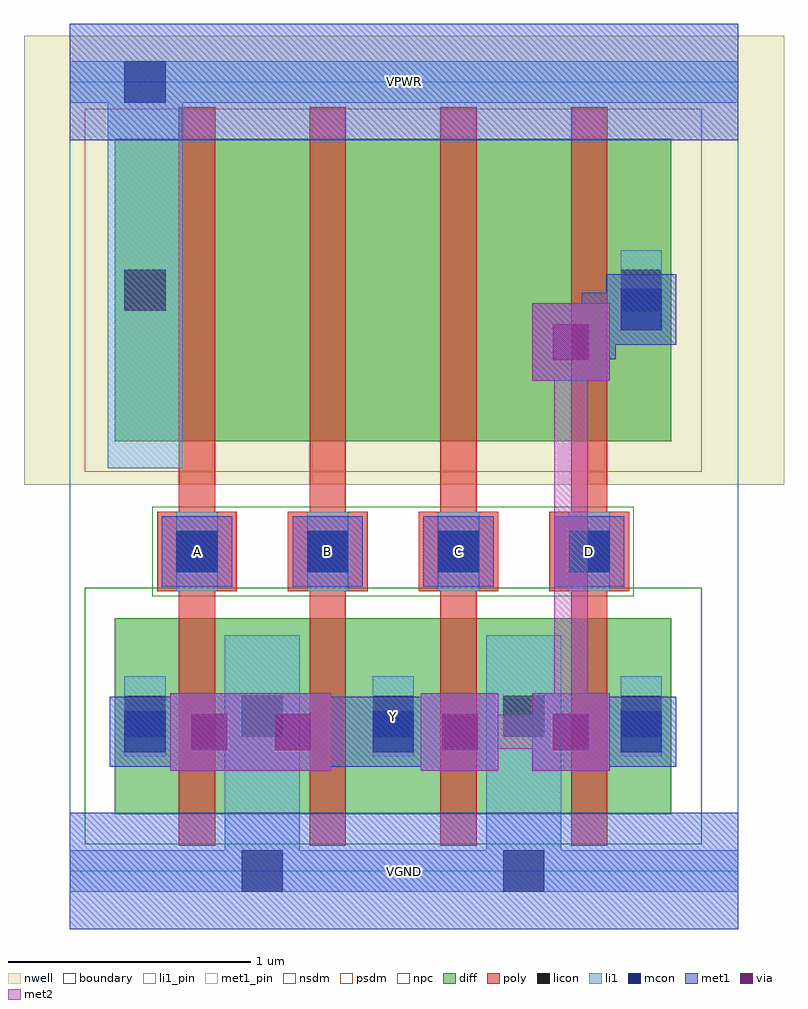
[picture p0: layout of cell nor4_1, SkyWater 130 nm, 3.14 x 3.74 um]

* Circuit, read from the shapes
.subckt nor4_1 A B C D VGND VPWR Y
XM1 VGND A Y VSUBS sky130_fd_pr__nfet_01v8 w=0.81 l=0.15
XM2 Y B VGND VSUBS sky130_fd_pr__nfet_01v8 w=0.81 l=0.15
XM3 VGND C Y VSUBS sky130_fd_pr__nfet_01v8 w=0.81 l=0.15
XM4 Y D VGND VSUBS sky130_fd_pr__nfet_01v8 w=0.81 l=0.15
XM5 n1 A VPWR n2 sky130_fd_pr__pfet_01v8 w=1.25 l=0.15
XM6 n3 B n1 n2 sky130_fd_pr__pfet_01v8 w=1.25 l=0.15
XM7 n4 C n3 n2 sky130_fd_pr__pfet_01v8 w=1.25 l=0.15
XM8 Y D n4 n2 sky130_fd_pr__pfet_01v8 w=1.25 l=0.15
.ends

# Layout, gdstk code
import gdstk
lib = gdstk.Library(unit=1e-6, precision=1e-09)
def R(c, l, rs):  # rectangles x0, y0, x1, y1
    for r in rs: c.add(gdstk.rectangle(r[:2], r[2:], *l))
def A(c, l, x, y, w, h, nx, ny, dx, dy):  # array of equal rectangles
    R(c, l, [(x+i*dx, y+j*dy, x+i*dx+w, y+j*dy+h) for i in range(nx) for j in range(ny)])
nwell = (64, 20)
diff = (65, 20)
poly = (66, 20)
licon = (66, 44)
li1_pin = (67, 16)
li1 = (67, 20)
mcon = (67, 44)
met1_pin = (68, 16)
met1 = (68, 20)
via = (68, 44)
met2 = (69, 20)
nsdm = (93, 44)
psdm = (94, 20)
npc = (95, 20)
boundary = (235, 4)

nor4_1 = lib.new_cell('nor4_1')
R(nor4_1, nwell, [(-0.19,1.595,2.95,3.45), (0,1.595,2.76,3.45)])
R(nor4_1, diff, [(0.185,0.235,2.485,1.045), (0.185,1.775,2.485,3.025)])
A(nor4_1, poly, 0.45, 0.105, 0.15, 3.05, 4, 1, 0.54, 0)
A(nor4_1, poly, 0.36, 1.155, 0.33, 0.33, 4, 1, 0.54, 0)
A(nor4_1, licon, 0.71, 0.555, 0.17, 0.17, 3, 1, 0.54, 0)
A(nor4_1, licon, 0.44, 1.235, 0.17, 0.17, 4, 1, 0.54, 0)
R(nor4_1, licon, [(0.225,0.555,0.395,0.725), (2.275,0.555,2.445,0.725), (0.225,2.315,0.395,2.485), (2.275,2.315,2.445,2.485)])
R(nor4_1, li1_pin, [(1.25,0.475,1.42,0.805)])
A(nor4_1, li1, 0.225, 0.475, 0.17, 0.33, 3, 1, 1.025, 0)
A(nor4_1, li1, 0.44, 1.155, 0.17, 0.33, 4, 1, 0.54, 0)
R(nor4_1, li1, [(0,-0.085,2.76,0.085), (0.64,-0.085,0.95,0.975), (1.72,-0.085,2.03,0.975), (0.155,1.665,0.465,3.345), (2.275,2.235,2.445,2.565), (0,3.175,2.76,3.345)])
A(nor4_1, mcon, 0.225, 0.49, 0.17, 0.17, 3, 1, 1.025, 0)
A(nor4_1, mcon, 0.44, 1.235, 0.17, 0.17, 4, 1, 0.54, 0)
R(nor4_1, mcon, [(0.71,-0.085,0.88,0.085), (1.79,-0.085,1.96,0.085), (2.275,2.235,2.445,2.405), (0.225,3.175,0.395,3.345)])
A(nor4_1, met1_pin, 0.38, 1.175, 0.29, 0.29, 4, 1, 0.54, 0)
R(nor4_1, met1_pin, [(0,-0.24,2.76,0.24), (0,3.02,2.76,3.5)])
A(nor4_1, met1, 0.165, 0.43, 0.29, 0.29, 3, 1, 1.025, 0)
A(nor4_1, met1, 0.38, 1.175, 0.29, 0.29, 4, 1, 0.54, 0)
R(nor4_1, met1, [(0,-0.24,2.76,0.24), (0.415,0.415,0.735,0.735), (0.735,0.415,0.76,0.735), (0.76,0.415,1.08,0.735), (1.45,0.415,1.77,0.735), (1.91,0.415,2.23,0.735), (1.08,0.43,1.19,0.72), (0.24,0.505,0.53,0.645), (0.39,0.505,0.645,0.645), (0.645,0.505,0.76,0.645), (0.735,0.505,0.85,0.645), (0.85,0.505,1.22,0.645), (1.08,0.505,1.405,0.645), (1.08,0.505,1.68,0.645), (2,0.505,2.255,0.645), (2.115,0.505,2.43,0.645), (1.91,2.025,2.23,2.345), (2,2.115,2.255,2.255), (2.115,2.115,2.255,2.39), (2.215,2.175,2.505,2.465), (2.115,2.25,2.43,2.39), (0,3.02,2.76,3.5)])
R(nor4_1, via, [(0.5,0.5,0.65,0.65), (0.845,0.5,0.995,0.65), (1.535,0.5,1.685,0.65), (1.995,0.5,2.145,0.65), (1.995,2.11,2.145,2.26)])
R(nor4_1, met2, [(0.415,0.415,0.735,0.735), (0.735,0.415,0.76,0.735), (0.76,0.415,1.08,0.735), (1.45,0.415,1.77,0.735), (1.91,0.415,2.23,0.735), (0.505,0.505,0.99,0.645), (1.54,0.505,2.14,0.645), (2,0.505,2.14,2.255), (1.91,2.025,2.23,2.345)])
R(nor4_1, nsdm, [(0.06,0.11,2.61,1.17)])
R(nor4_1, psdm, [(0.06,1.65,2.61,3.15)])
R(nor4_1, npc, [(0.34,1.135,2.33,1.505)])
R(nor4_1, boundary, [(0,0,2.76,3.26)])
nor4_1.add(gdstk.Label('Y', (1.335,0.64), layer=67, texttype=5))
nor4_1.add(gdstk.Label('A', (0.525,1.32), layer=68, texttype=5))
nor4_1.add(gdstk.Label('B', (1.065,1.32), layer=68, texttype=5))
nor4_1.add(gdstk.Label('C', (1.605,1.32), layer=68, texttype=5))
nor4_1.add(gdstk.Label('D', (2.145,1.32), layer=68, texttype=5))
nor4_1.add(gdstk.Label('VPWR', (1.38,3.26), layer=68, texttype=5))
nor4_1.add(gdstk.Label('VGND', (1.38,0), layer=68, texttype=5))
nor4_1.add(gdstk.Label('Y', (1.335,0.64), layer=67, texttype=16))
nor4_1.add(gdstk.Label('A', (0.525,1.32), layer=68, texttype=16))
nor4_1.add(gdstk.Label('B', (1.065,1.32), layer=68, texttype=16))
nor4_1.add(gdstk.Label('C', (1.605,1.32), layer=68, texttype=16))
nor4_1.add(gdstk.Label('D', (2.145,1.32), layer=68, texttype=16))
nor4_1.add(gdstk.Label('VPWR', (1.38,3.26), layer=68, texttype=16))
nor4_1.add(gdstk.Label('VGND', (1.38,0), layer=68, texttype=16))

lib.write_gds('nor4_1.gds')
